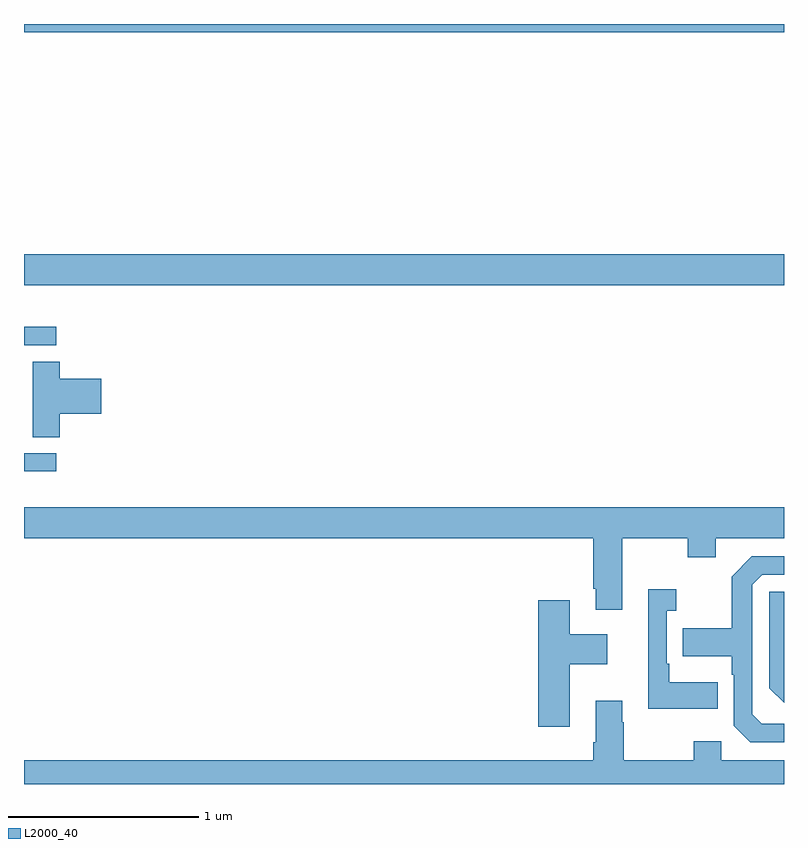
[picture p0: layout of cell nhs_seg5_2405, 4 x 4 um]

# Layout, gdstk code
import gdstk
lib = gdstk.Library(unit=1e-6, precision=1e-09)
def R(c, l, rs):  # rectangles x0, y0, x1, y1
    for r in rs: c.add(gdstk.rectangle(r[:2], r[2:], *l))
def P(c, l, *ps):  # polygons
    for p in ps: c.add(gdstk.Polygon(p, *l))
L2000_40 = (2000, 40)

nhs_seg5_2405 = lib.new_cell('nhs_seg5_2405')
R(nhs_seg5_2405, L2000_40, [(251,858.444,251.17,858.54), (251,859.107,251.17,859.206), (251,859.424,255,859.588), (251,860.756,255,860.799)])
P(nhs_seg5_2405, L2000_40, [(251.189,858.749),(251.407,858.749),(251.407,858.932),(251.189,858.932),(251.189,859.022),(251.045,859.022),(251.045,858.625),(251.189,858.625)],
  [(254.149,858.092),(254.494,858.092),(254.494,857.993),(254.641,857.993),(254.641,858.092),(255,858.092),(255,858.256),(251,858.256),(251,858.092),(253.997,858.092),(253.997,857.827),(254.009,857.827),(254.009,857.715),(254.149,857.715)],
  [(255,857.115),(254.883,857.115),(254.832,857.166),(254.832,857.847),(254.886,857.901),(255,857.901),(255,857.997),(254.829,857.997),(254.724,857.891),(254.724,857.619),(254.467,857.619),(254.467,857.471),(254.724,857.471),(254.724,857.375),(254.736,857.375),(254.736,857.106),(254.823,857.019),(255,857.019)],
  [(254.651,857.335),(254.395,857.335),(254.395,857.431),(254.382,857.431),(254.382,857.711),(254.434,857.711),(254.434,857.824),(254.285,857.824),(254.285,857.195),(254.651,857.195)],
  [(255,857.811),(254.922,857.811),(254.922,857.304),(255,857.226)],
  [(253.873,857.429),(254.071,857.429),(254.071,857.587),(253.873,857.587),(253.873,857.767),(253.706,857.767),(253.706,857.1),(253.873,857.1)],
  [(255,856.924),(254.67,856.924),(254.67,857.023),(254.524,857.023),(254.524,856.924),(254.157,856.924),(254.157,857.123),(254.149,857.123),(254.149,857.236),(254.009,857.236),(254.009,857.02),(253.997,857.02),(253.997,856.924),(251,856.924),(251,856.799),(255,856.799)])

lib.write_gds('nhs_seg5_2405.gds')
